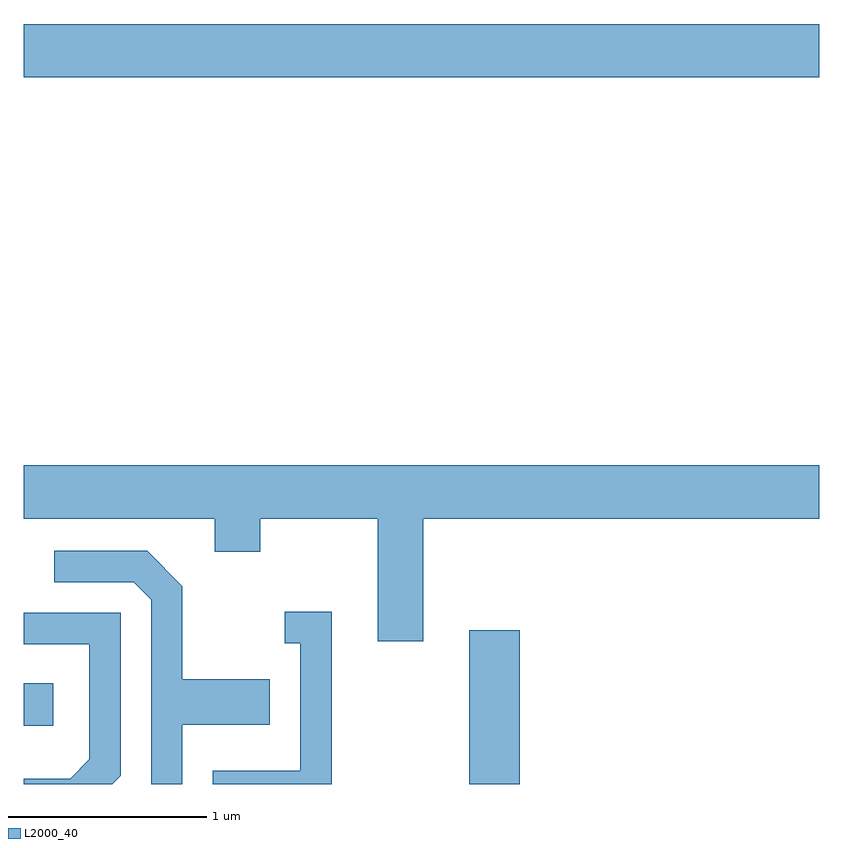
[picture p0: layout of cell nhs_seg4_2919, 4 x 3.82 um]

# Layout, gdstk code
import gdstk
lib = gdstk.Library(unit=1e-6, precision=1e-09)
def R(c, l, rs):  # rectangles x0, y0, x1, y1
    for r in rs: c.add(gdstk.rectangle(r[:2], r[2:], *l))
def P(c, l, *ps):  # polygons
    for p in ps: c.add(gdstk.Polygon(p, *l))
L2000_40 = (2000, 40)

nhs_seg4_2919 = lib.new_cell('nhs_seg4_2919')
R(nhs_seg4_2919, L2000_40, [(271.851,1379.982,272.104,1380.754), (269.611,1380.276,269.759,1380.489), (269.611,1383.536,273.611,1383.804)])
P(nhs_seg4_2919, L2000_40, [(271.619,1381.316),(273.611,1381.316),(273.611,1381.584),(269.611,1381.584),(269.611,1381.316),(270.571,1381.316),(270.571,1381.151),(270.799,1381.151),(270.799,1381.316),(271.391,1381.316),(271.391,1380.701),(271.619,1380.701)],
  [(270.409,1380.281),(270.849,1380.281),(270.849,1380.509),(270.409,1380.509),(270.409,1380.977),(270.232,1381.154),(269.763,1381.154),(269.763,1380.996),(270.164,1380.996),(270.251,1380.909),(270.251,1379.982),(270.409,1379.982)],
  [(271.159,1380.849),(270.923,1380.849),(270.923,1380.691),(271.001,1380.691),(271.001,1380.049),(270.561,1380.049),(270.561,1379.982),(271.159,1379.982)],
  [(270.099,1380.024),(270.099,1380.844),(269.611,1380.844),(269.611,1380.686),(269.941,1380.686),(269.941,1380.107),(269.844,1380.009),(269.611,1380.009),(269.611,1379.982),(270.057,1379.982)])

lib.write_gds('nhs_seg4_2919.gds')
